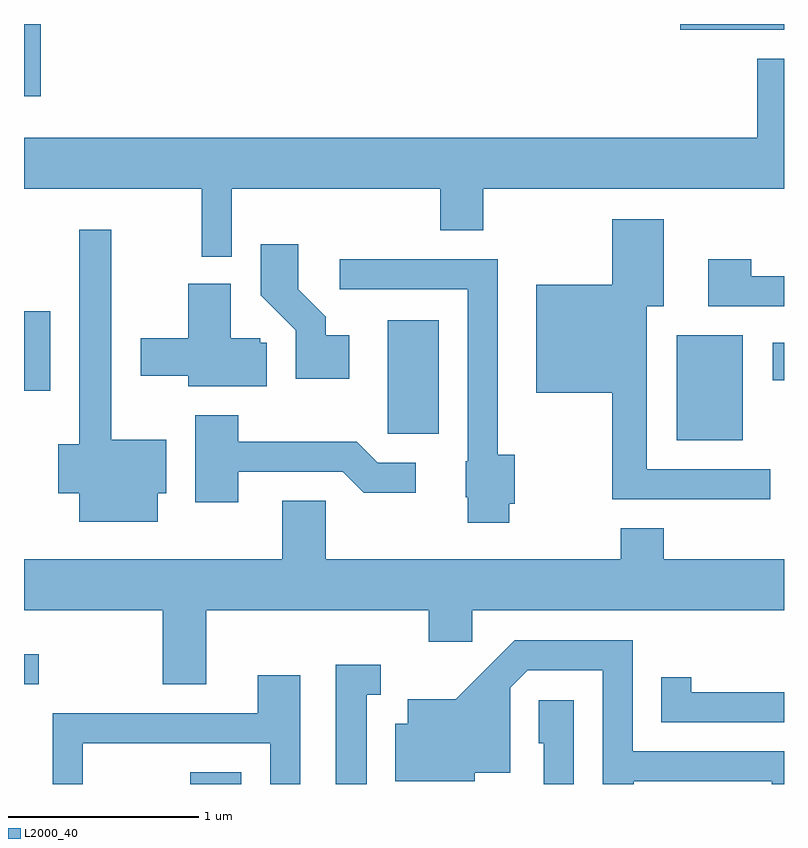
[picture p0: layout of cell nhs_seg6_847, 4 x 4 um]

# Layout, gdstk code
import gdstk
lib = gdstk.Library(unit=1e-6, precision=1e-09)
def R(c, l, rs):  # rectangles x0, y0, x1, y1
    for r in rs: c.add(gdstk.rectangle(r[:2], r[2:], *l))
def P(c, l, *ps):  # polygons
    for p in ps: c.add(gdstk.Polygon(p, *l))
L2000_40 = (2000, 40)

nhs_seg6_847 = lib.new_cell('nhs_seg6_847')
R(nhs_seg6_847, L2000_40, [(210.486,1620.162,210.754,1620.224), (209.611,1620.686,209.688,1620.844), (213.046,1621.971,213.394,1622.524), (211.526,1622.006,211.794,1622.604), (209.611,1622.231,209.749,1622.649), (213.551,1622.286,213.611,1622.484), (209.611,1623.783,209.699,1624.162), (213.066,1624.131,213.611,1624.162)])
P(nhs_seg6_847, L2000_40, [(210.704,1623.296),(211.801,1623.296),(211.801,1623.076),(212.029,1623.076),(212.029,1623.296),(213.611,1623.296),(213.611,1623.979),(213.471,1623.979),(213.471,1623.564),(209.611,1623.564),(209.611,1623.296),(210.546,1623.296),(210.546,1622.938),(210.704,1622.938)],
  [(213.538,1621.819),(212.889,1621.819),(212.889,1622.676),(212.979,1622.676),(212.979,1623.134),(212.706,1623.134),(212.706,1622.789),(212.306,1622.789),(212.306,1622.221),(212.706,1622.221),(212.706,1621.661),(213.538,1621.661)],
  [(210.314,1621.691),(210.359,1621.691),(210.359,1621.974),(210.069,1621.974),(210.069,1623.078),(209.901,1623.078),(209.901,1621.949),(209.791,1621.949),(209.791,1621.691),(209.901,1621.691),(209.901,1621.541),(210.314,1621.541)],
  [(211.324,1622.524),(211.199,1622.524),(211.199,1622.622),(211.054,1622.767),(211.054,1623.004),(210.856,1623.004),(210.856,1622.734),(211.041,1622.549),(211.041,1622.296),(211.324,1622.296)],
  [(213.611,1622.834),(213.439,1622.834),(213.439,1622.924),(213.211,1622.924),(213.211,1622.676),(213.611,1622.676)],
  [(212.164,1621.636),(212.194,1621.636),(212.194,1621.894),(212.104,1621.894),(212.104,1622.924),(211.273,1622.924),(211.273,1622.766),(211.946,1622.766),(211.946,1621.86),(211.936,1621.86),(211.936,1621.67),(211.946,1621.67),(211.946,1621.536),(212.164,1621.536)],
  [(210.889,1622.484),(210.854,1622.484),(210.854,1622.509),(210.699,1622.509),(210.699,1622.794),(210.476,1622.794),(210.476,1622.509),(210.226,1622.509),(210.226,1622.311),(210.476,1622.311),(210.476,1622.256),(210.889,1622.256)],
  [(210.739,1621.806),(211.289,1621.806),(211.399,1621.696),(211.673,1621.696),(211.673,1621.854),(211.472,1621.854),(211.362,1621.964),(210.739,1621.964),(210.739,1622.104),(210.511,1622.104),(210.511,1621.646),(210.739,1621.646)],
  [(210.569,1621.076),(211.741,1621.076),(211.741,1620.911),(211.969,1620.911),(211.969,1621.076),(213.611,1621.076),(213.611,1621.344),(212.979,1621.344),(212.979,1621.509),(212.751,1621.509),(212.751,1621.344),(211.199,1621.344),(211.199,1621.654),(210.971,1621.654),(210.971,1621.344),(209.611,1621.344),(209.611,1621.076),(210.341,1621.076),(210.341,1620.686),(210.569,1620.686)],
  [(212.819,1620.176),(213.546,1620.176),(213.546,1620.162),(213.611,1620.162),(213.611,1620.334),(212.814,1620.334),(212.814,1620.919),(212.194,1620.919),(211.884,1620.609),(211.631,1620.609),(211.631,1620.479),(211.566,1620.479),(211.566,1620.176),(211.984,1620.176),(211.984,1620.221),(212.169,1620.221),(212.169,1620.669),(212.262,1620.761),(212.656,1620.761),(212.656,1620.162),(212.819,1620.162)],
  [(211.414,1620.631),(211.488,1620.631),(211.488,1620.789),(211.251,1620.789),(211.251,1620.162),(211.414,1620.162)],
  [(209.919,1620.376),(210.906,1620.376),(210.906,1620.162),(211.064,1620.162),(211.064,1620.734),(210.841,1620.734),(210.841,1620.534),(209.761,1620.534),(209.761,1620.162),(209.919,1620.162)],
  [(213.611,1620.644),(213.124,1620.644),(213.124,1620.723),(212.966,1620.723),(212.966,1620.486),(213.611,1620.486)],
  [(212.504,1620.604),(212.321,1620.604),(212.321,1620.376),(212.346,1620.376),(212.346,1620.162),(212.504,1620.162)])

lib.write_gds('nhs_seg6_847.gds')
